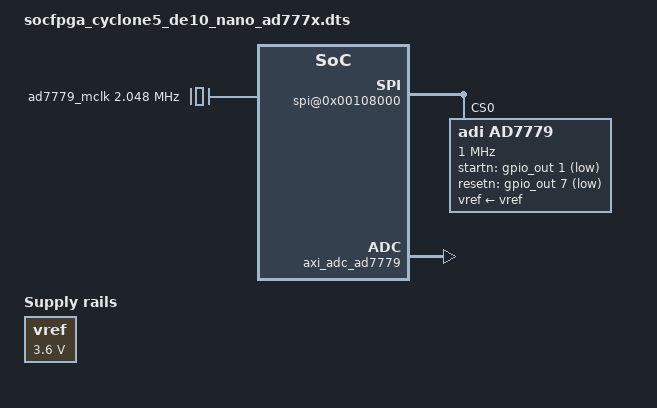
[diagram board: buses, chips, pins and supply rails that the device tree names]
// SPDX-License-Identifier: (GPL-2.0-only OR BSD-3-Clause)
/*
 * Analog Devices EVAL-AD777X
 *
 * Copyright (C) 2022 Analog Devices Inc.
 */

/dts-v1/;
#include "socfpga_cyclone5_de10_nano.dtsi"
#include <dt-bindings/interrupt-controller/irq.h>
#include <dt-bindings/gpio/gpio.h>

/ {


	clocks {
		ad7779_mclk: clock@0 {
		#clock-cells = <0>;
		compatible = "fixed-clock";
		clock-frequency = <2048000>;
		};
	};

	vref: regulator-vref {
		compatible = "regulator-fixed";
		regulator-name = "fixed-supply";
		regulator-min-microvolt = <3600000>;
		regulator-max-microvolt = <3600000>;
		regulator-always-on;
	};

};

&fpga_axi {
	rx_dma: rx-dmac@0x00030000 {
		compatible = "adi,axi-dmac-1.00.a";
		reg = <0x00030000 0x00000800>;
		#dma-cells = <1>;
		interrupt-parent = <&intc>;
		interrupts = <0 45 IRQ_TYPE_LEVEL_HIGH>;
		clocks = <&h2f_user0_clk>;

		adi,channels {
			#size-cells = <0>;
			#address-cells = <1>;

			dma-channel@0 {
				reg = <0>;
				adi,source-bus-width = <256>;
				adi,source-bus-type = <2>;
				adi,destination-bus-width = <64>;
				adi,destination-bus-type = <0>;
			};
		};
	};

	spi@0x00108000 {
		compatible = "altr,spi-18.1", "altr,spi-1.0";
		reg = <0x00108000 0x00000020>;  
		interrupt-parent = <&intc>;
		interrupts = <0 41 IRQ_TYPE_LEVEL_HIGH>;

		#address-cells = <0x1>;
		#size-cells = <0x0>;

		ad7779: adc@0 {
			compatible = "adi,ad7779";
			reg = <0>;
			spi-max-frequency = <1000000>;
			vref-supply = <&vref>;
			startn-gpios = <&gpio_out 1 GPIO_ACTIVE_LOW>;
		    	resetn-gpios = <&gpio_out 7 GPIO_ACTIVE_LOW>;
			
			clocks = <&ad7779_mclk>;
			clock-names = "mclk";
		};
	};

	axi_adc_ad7779: cf_axi_ad7779@0x00020000 {
		compatible = "adi,axi-adc-10.0.a";
		reg = <0x00020000 0x10000>;
		dmas = <&rx_dma 0>;
		dma-names = "rx";
		spibus-connected = <&ad7779>;
	};
};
